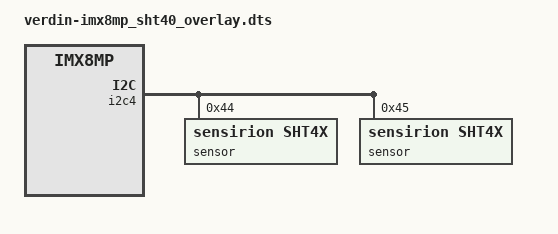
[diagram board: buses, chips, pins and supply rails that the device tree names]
// SPDX-License-Identifier: GPL-2.0-or-later OR MIT
/dts-v1/;
/plugin/;

/ {
	compatible = "toradex,verdin-imx8mp";
};

/* Verdin I2C_1: SDA on SODIMM 12, SCL on SODIMM 14 (Mallow X10). */
&i2c4 {
	#address-cells = <1>;
	#size-cells = <0>;
	status = "okay";

	sensor@44 {
		compatible = "sensirion,sht4x";
		reg = <0x44>;
	};

	sensor@45 {
		compatible = "sensirion,sht4x";
		reg = <0x45>;
	};
};
